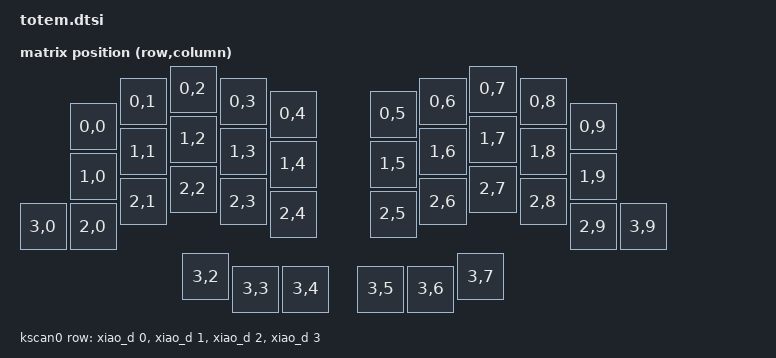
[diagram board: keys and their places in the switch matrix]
/*
 * Copyright (c) 2022 The ZMK Contributors
 *
 * SPDX-License-Identifier: MIT
 */

#include <dt-bindings/zmk/matrix_transform.h>
#include <physical_layouts.dtsi>

/ {
    chosen {
        zmk,kscan = &kscan0;
        zmk,physical-layout = &physical_layout0;
    };

    default_transform: keymap_transform_0 {
        compatible = "zmk,matrix-transform";
        columns = <10>;
        rows = <4>;
//             | SW01  | SW02  | SW03  | SW04  | SW05  |  | SW05  | SW04  | SW03  | SW02  | SW01  |
//             | SW06  | SW07  | SW08  | SW09  | SW10  |  | SW10  | SW09  | SW08  | SW07  | SW06  | 
//      | SW16 | SW11  | SW12  | SW13  | SW14  | SW15  |  | SW15  | SW14  | SW13  | SW12  | SW11  | SW16  |
//                             | SW17  | SW18  | SW19  |  | SW19  | SW18  | SW17  | 
        map = <
                RC(0,0) RC(0,1) RC(0,2) RC(0,3) RC(0,4)    RC(0,5) RC(0,6) RC(0,7) RC(0,8) RC(0,9)
                RC(1,0) RC(1,1) RC(1,2) RC(1,3) RC(1,4)    RC(1,5) RC(1,6) RC(1,7) RC(1,8) RC(1,9)
        RC(3,0) RC(2,0) RC(2,1) RC(2,2) RC(2,3) RC(2,4)    RC(2,5) RC(2,6) RC(2,7) RC(2,8) RC(2,9) RC(3,9)
                                RC(3,2) RC(3,3) RC(3,4)    RC(3,5) RC(3,6) RC(3,7)         
        >;
    };


    kscan0: kscan_0 {
        compatible = "zmk,kscan-gpio-matrix";
        label = "KSCAN";

        diode-direction = "col2row";
        row-gpios
            = <&xiao_d 0 (GPIO_ACTIVE_HIGH | GPIO_PULL_DOWN)>
            , <&xiao_d 1 (GPIO_ACTIVE_HIGH | GPIO_PULL_DOWN)>
            , <&xiao_d 2 (GPIO_ACTIVE_HIGH | GPIO_PULL_DOWN)>
            , <&xiao_d 3 (GPIO_ACTIVE_HIGH | GPIO_PULL_DOWN)>
            ;
    };

    physical_layout0: physical_layout_0 {
        compatible = "zmk,physical-layout";
        display-name = "Totem";
        transform = <&default_transform>;
        keys //                     w   h    x    y     r   rx   ry
            = <&key_physical_attrs 100 100  100   75    0    0    0>  // RC(0,0) Q
            , <&key_physical_attrs 100 100  200   25    0    0    0>  // RC(0,1) W
            , <&key_physical_attrs 100 100  300    0    0    0    0>  // RC(0,2) E
            , <&key_physical_attrs 100 100  400   25    0    0    0>  // RC(0,3) R
            , <&key_physical_attrs 100 100  500   50    0    0    0>  // RC(0,4) T
            , <&key_physical_attrs 100 100  700   50    0    0    0>  // RC(0,5) Y
            , <&key_physical_attrs 100 100  800   25    0    0    0>  // RC(0,6) U
            , <&key_physical_attrs 100 100  900    0    0    0    0>  // RC(0,7) I
            , <&key_physical_attrs 100 100 1000   25    0    0    0>  // RC(0,8) P
            , <&key_physical_attrs 100 100 1100   75    0    0    0>  // RC(0,9)
            , <&key_physical_attrs 100 100  100  175    0    0    0>  // RC(1,0) A
            , <&key_physical_attrs 100 100  200  125    0    0    0>  // RC(1,1) S
            , <&key_physical_attrs 100 100  300  100    0    0    0>  // RC(1,2) D
            , <&key_physical_attrs 100 100  400  125    0    0    0>  // RC(1,3) F
            , <&key_physical_attrs 100 100  500  150    0    0    0>  // RC(1,4) G
            , <&key_physical_attrs 100 100  700  150    0    0    0>  // RC(1,5) H
            , <&key_physical_attrs 100 100  800  125    0    0    0>  // RC(1,6) J
            , <&key_physical_attrs 100 100  900  100    0    0    0>  // RC(1,7) K
            , <&key_physical_attrs 100 100 1000  125    0    0    0>  // RC(1,8) L
            , <&key_physical_attrs 100 100 1100  175    0    0    0>  // RC(1,9) O
            , <&key_physical_attrs 100 100    0  275    0    0    0>  // RC(3,0) LSHFT outer
            , <&key_physical_attrs 100 100  100  275    0    0    0>  // RC(2,0) Z
            , <&key_physical_attrs 100 100  200  225    0    0    0>  // RC(2,1) X
            , <&key_physical_attrs 100 100  300  200    0    0    0>  // RC(2,2) C
            , <&key_physical_attrs 100 100  400  225    0    0    0>  // RC(2,3) V
            , <&key_physical_attrs 100 100  500  250    0    0    0>  // RC(2,4) B
            , <&key_physical_attrs 100 100  700  250    0    0    0>  // RC(2,5) N
            , <&key_physical_attrs 100 100  800  225    0    0    0>  // RC(2,6) M
            , <&key_physical_attrs 100 100  900  200    0    0    0>  // RC(2,7) ,
            , <&key_physical_attrs 100 100 1000  225    0    0    0>  // RC(2,8) .
            , <&key_physical_attrs 100 100 1100  275    0    0    0>  // RC(2,9) /
            , <&key_physical_attrs 100 100 1200  275    0    0    0>  // RC(3,9) RSHFT outer
            , <&key_physical_attrs 100 100  325  375    0    0    0>  // RC(3,2) ESC/SYM
            , <&key_physical_attrs 100 100  425  400    0    0    0>  // RC(3,3) BSP/NAV
            , <&key_physical_attrs 100 100  525  400    0    0    0>  // RC(3,4) ENT/ADJ
            , <&key_physical_attrs 100 100  675  400    0    0    0>  // RC(3,5) TAB/ADJ
            , <&key_physical_attrs 100 100  775  400    0    0    0>  // RC(3,6) SPC/NAV
            , <&key_physical_attrs 100 100  875  375    0    0    0>  // RC(3,7) DEL/SYM
            ;
    };
};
